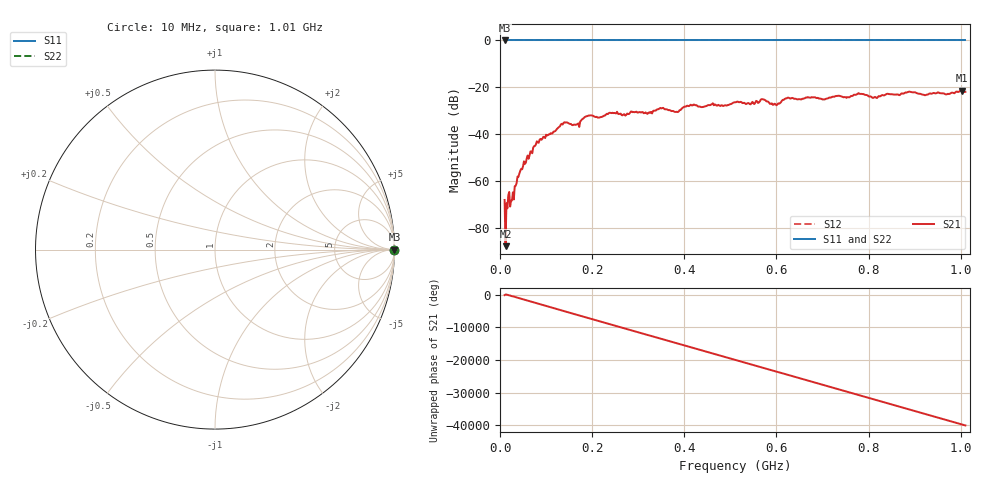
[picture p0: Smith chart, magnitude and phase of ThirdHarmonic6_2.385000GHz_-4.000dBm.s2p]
! 8/17/2025 3:49:33 AM
! C:\ANRITSUVNA\TEMP\TEMP.S2P
! CHANNEL.1
! TR.MEASUREMENT
! RAW.DATA
! RF.CORRECTION.OFF
! AVERAGING.OFF
! IF.BANDWIDTH: 5KHZ
! SWEEPTYPE:  FREQ.SWEEP(Linear)
! Reference Plane Port Info
! PORT:  PORT1  PORT2
! DISTANCE:  0  m  0  m
! TIME:  0  s  0  s
! PHASE.OFFSET:  0  deg.  0  deg.
! LOSS:  0  dB  0  dB
! REF.LOSS:  0  dB  0  dB
! REF.FREQ:  0  Hz  0  Hz
! Power Info
! POWER:  -20  dBm  -20  dBm
! EFF.POWER:  -20  dBm  -20  dBm
! SOURCE.ATTEN:  0  dB  0  dB
! TEST.ATTEN:  0  dB  0  dB
# GHZ S RI R 50.0
! FREQ.GHZ  S11RE  S11IM  S21RE  S21IM  S12RE  S12IM  S22RE  S22IM
!; PortSelection: Port_12
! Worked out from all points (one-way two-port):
!   501 points, 10 MHz to 1.01 GHz, reference 50 ohm
!   highest |S21| = -21.42 dB at 1.002 GHz (marker M1); lowest = -88.0 dB at 12 MHz (marker M2)
!   lowest |S11| = 0.0 dB at 10 MHz (marker M3)
!   |S11| at or under -10 dB: nowhere
!   |S22| runs from 0.0 to 0.0 dB; largest |S21 - S12| = 1.1
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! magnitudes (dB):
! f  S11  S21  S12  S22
! 10 MHz  0.0  -68.2  0.0  0.0
! 12 MHz  0.0  -88.0  0.0  0.0
! 18 MHz  0.0  -66.2  0.0  0.0
! 26 MHz  0.0  -68.4  0.0  0.0
! 42 MHz  0.0  -56.9  0.0  0.0
! 76 MHz  0.0  -45.1  0.0  0.0
! 136 MHz  0.0  -36.0  0.0  0.0
! 168 MHz  0.0  -35.8  0.0  0.0
! 178 MHz  0.0  -33.7  0.0  0.0
! 194 MHz  0.0  -32.1  0.0  0.0
! 322 MHz  0.0  -31.0  0.0  0.0
! 344 MHz  0.0  -29.4  0.0  0.0
! 384 MHz  0.0  -30.5  0.0  0.0
! 416 MHz  0.0  -27.8  0.0  0.0
! 510 MHz  0.0  -26.4  0.0  0.0
! 570 MHz  0.0  -25.1  0.0  0.0
! 596 MHz  0.0  -27.0  0.0  0.0
! 622 MHz  0.0  -24.8  0.0  0.0
! 678 MHz  0.0  -24.3  0.0  0.0
! 844 MHz  0.0  -22.9  0.0  0.0
! 1.002 GHz  0.0  -21.4  0.0  0.0
! 1.01 GHz  0.0  -22.0  0.0  0.0
